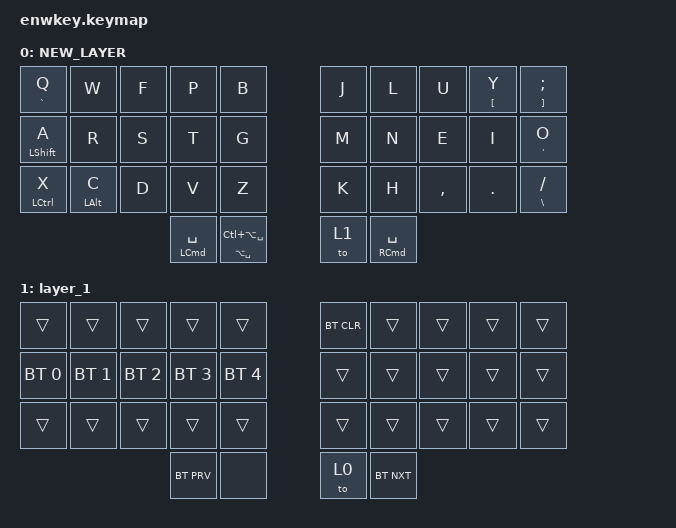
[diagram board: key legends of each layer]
/*
 * Copyright (c) 2020 The ZMK Contributors
 *
 * SPDX-License-Identifier: MIT
 */

#include <dt-bindings/zmk/mouse.h>
#include <behaviors.dtsi>
#include <dt-bindings/zmk/bt.h>
#include <dt-bindings/zmk/keys.h>

&mt {
    tapping-term-ms = <200>;
    flavor = "tap-preferred";
};

&sk {
    release-after-ms = <2000>;
    quick-release;
};

/ {
    combos {
        compatible = "zmk,combos";

        combo_esc {
            timeout-ms = <50>;
            key-positions = <10 11>;
            bindings = <&kp ESC>;
            layers = <0>;
        };

        combo_ent {
            timeout-ms = <50>;
            key-positions = <18 17>;
            bindings = <&kp RET>;
            layers = <0>;
        };

        rshift {
            timeout-ms = <50>;
            key-positions = <28 29>;
            bindings = <&kp RSHIFT>;
        };

        del {
            timeout-ms = <50>;
            key-positions = <18 19>;
            bindings = <&mt DELETE BACKSPACE>;
            layers = <0>;
        };

        lshift {
            bindings = <&kp CAPS>;
            key-positions = <20 21>;
            timeout-ms = <50>;
        };

        tab {
            bindings = <&kp TAB>;
            key-positions = <11 12>;
            timeout-ms = <50>;
            layers = <0>;
        };
    };

    behaviors {
        hm: homerow_mods {
            compatible = "zmk,behavior-hold-tap";
            label = "HOMEROW_MODS";
            #binding-cells = <2>;
            tapping-term-ms = <200>;
            quick_tap_ms = <0>;
            flavor = "tap-preferred";
            bindings = <&kp>, <&kp>;
        };

        hs: homerow_shifts {
            compatible = "zmk,behavior-hold-tap";
            label = "HOMEROW_SHIFTS";
            #binding-cells = <2>;
            tapping-term-ms = <150>;
            quick_tap_ms = <0>;
            flavor = "balanced";
            bindings = <&kp>, <&kp>;
        };

        td: tapdance {
            compatible = "zmk,behavior-hold-tap";
            label = "TAPDANCE";
            #binding-cells = <2>;
            tapping-term-ms = <190>;
            quick_tap_ms = <0>;
            flavor = "tap-preferred";
            bindings = <&kp>, <&kp>;
        };
    };

    keymap {
        compatible = "zmk,keymap";

        NEW_LAYER {
            bindings = <
&mt GRAVE Q       &kp W       &kp F                   &kp P                        &kp B  &kp J  &kp L  &kp U                    &mt LEFT_BRACKET Y  &mt RIGHT_BRACKET SEMI
&mt LEFT_SHIFT A  &kp R       &kp S                   &kp T                        &kp G  &kp M  &kp N  &kp E                    &kp I               &mt SQT O
&mt LCTRL X       &mt LALT C  &kp D                   &kp V                        &kp Z  &kp K  &kp H  &kp COMMA                &kp DOT             &mt BACKSLASH FSLH
                              &mt LEFT_COMMAND SPACE  &mt LA(SPACE) LC(LA(SPACE))                &to 1  &mt RIGHT_COMMAND SPACE
            >;
        };

        layer_1 {
            bindings = <
&trans        &trans        &trans        &trans        &trans        &bt BT_CLR  &trans  &trans      &trans  &trans
&bt BT_SEL 0  &bt BT_SEL 1  &bt BT_SEL 2  &bt BT_SEL 3  &bt BT_SEL 4  &trans      &trans  &trans      &trans  &trans
&trans        &trans        &trans        &trans        &trans        &trans      &trans  &trans      &trans  &trans
                            &bt BT_PRV    &none                                   &to 0   &bt BT_NXT
            >;
        };
    };
};
